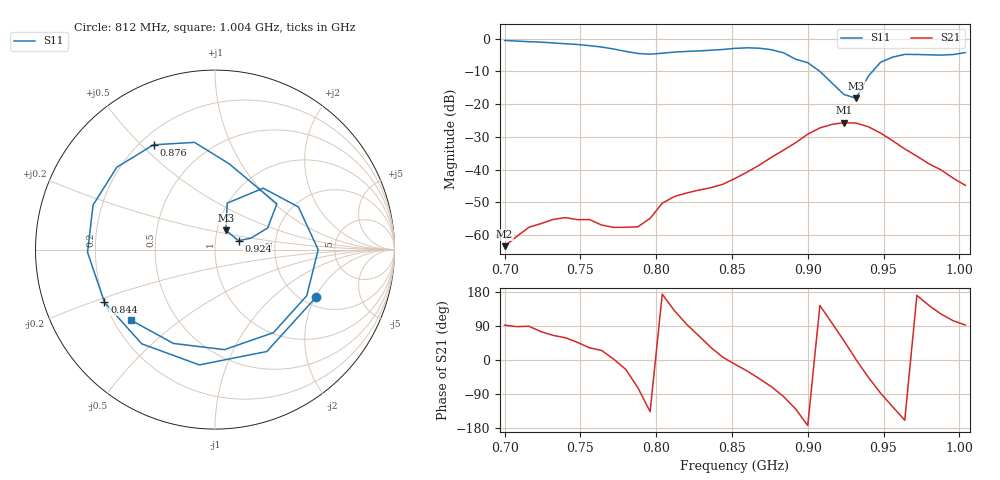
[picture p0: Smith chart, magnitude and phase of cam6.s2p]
# Hz S RI R 50
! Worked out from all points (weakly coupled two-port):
!   39 points, 700 MHz to 1.004 GHz, reference 50 ohm
!   highest |S21| = -25.66 dB at 924 MHz (marker M1); lowest = -63.3 dB at 700 MHz (marker M2)
!   lowest |S11| = -18.2 dB at 932 MHz (marker M3), VSWR 1.28, Z = 55 + j12 ohm
!   |S11| at or under -10 dB: 908 MHz to 942.7 MHz (34.71 MHz wide, 3.75 % of centre)
!   S12 and S22 are empty: the file has one direction only
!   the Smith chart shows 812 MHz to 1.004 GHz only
!   S11 on the Smith chart (normalised r, x): 812 MHz: 2.36, -2.03; 844 MHz: 0.20, -0.22; 876 MHz: 0.25, +0.54; 924 MHz: 1.29, +0.13; 1.004 GHz: 0.27, -0.34
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7e8  0.7594 0.549  -2.47e-05 0.00068  0 0  0 0
7.24e8  0.8465 -0.2504  0.000394 0.00145  0 0  0 0
7.4e8  0.4547 -0.7002  0.000963 0.00159  0 0  0 0
7.56e8  -0.1906 -0.7573  0.00147 0.000924  0 0  0 0
7.72e8  -0.6632 -0.2035  0.00131 5.16e-05  0 0  0 0
7.8e8  -0.5987 0.2185  0.0012 -0.00056  0 0  0 0
7.88e8  -0.2585 0.5337  0.000376 -0.00129  0 0  0 0
7.96e8  0.2226 0.534  -0.00131 -0.00125  0 0  0 0
8.04e8  0.5651 0.1954  -0.00306 0.000339  0 0  0 0
8.12e8  0.5644 -0.2637  -0.00252 0.00296  0 0  0 0
8.28e8  -0.0876 -0.6423  0.00212 0.0044  0 0  0 0
8.44e8  -0.6162 -0.293  0.00595 0.000757  0 0  0 0
8.52e8  -0.7102 -0.0148  0.0072 -0.00144  0 0  0 0
8.76e8  -0.3424 0.584  0.00516 -0.0145  0 0  0 0
9e8  0.3449 0.2547  -0.0346 -0.00431  0 0  0 0
9.08e8  0.2931 0.1202  -0.035 0.0256  0 0  0 0
9.24e8  0.131 0.0494  0.0335 0.0399  0 0  0 0
9.32e8  0.0603 0.1074  0.0514 0.000208  0 0  0 0
9.56e8  0.4652 0.2374  -0.0152 -0.0231  0 0  0 0
9.64e8  0.5747 -0.000552  -0.0193 -0.00742  0 0  0 0
9.8e8  0.3256 -0.4627  -0.0099 0.00725  0 0  0 0
1.004e9  -0.4701 -0.392  -0.000235 0.00577  0 0  0 0
